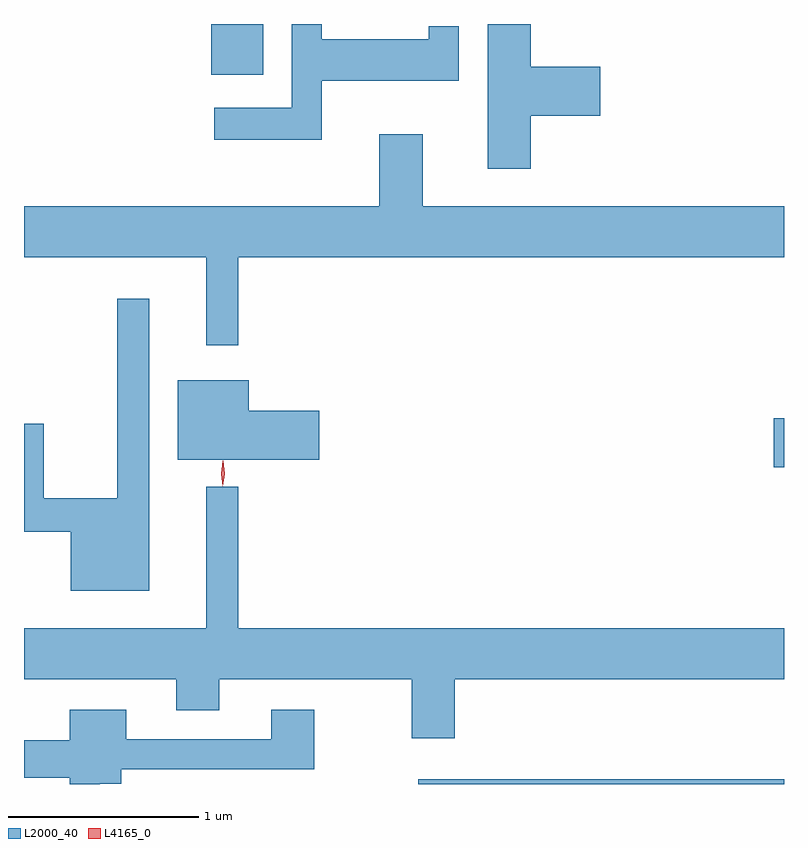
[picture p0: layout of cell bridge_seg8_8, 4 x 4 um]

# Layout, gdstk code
import gdstk
lib = gdstk.Library(unit=1e-6, precision=1e-09)
def R(c, l, rs):  # rectangles x0, y0, x1, y1
    for r in rs: c.add(gdstk.rectangle(r[:2], r[2:], *l))
def P(c, l, *ps):  # polygons
    for p in ps: c.add(gdstk.Polygon(p, *l))
L2000_40 = (2000, 40)
L4165_0 = (4165, 0)

bridge_seg8_8 = lib.new_cell('bridge_seg8_8')
R(bridge_seg8_8, L2000_40, [(1689.726,1909.124,1691.651,1909.149), (1691.596,1910.791,1691.651,1911.049), (1688.636,1912.856,1688.909,1913.124)])
P(bridge_seg8_8, L2000_40, [(1689.219,1912.826),(1689.939,1912.826),(1689.939,1913.113),(1689.781,1913.113),(1689.781,1913.044),(1689.219,1913.044),(1689.219,1913.124),(1689.061,1913.124),(1689.061,1912.684),(1688.653,1912.684),(1688.653,1912.516),(1689.219,1912.516)],
  [(1690.319,1912.641),(1690.684,1912.641),(1690.684,1912.899),(1690.319,1912.899),(1690.319,1913.124),(1690.091,1913.124),(1690.091,1912.361),(1690.319,1912.361)],
  [(1688.779,1911.896),(1691.651,1911.896),(1691.651,1912.164),(1689.749,1912.164),(1689.749,1912.544),(1689.521,1912.544),(1689.521,1912.164),(1687.651,1912.164),(1687.651,1911.896),(1688.611,1911.896),(1688.611,1911.433),(1688.779,1911.433)],
  [(1688.309,1911.678),(1688.141,1911.678),(1688.141,1910.629),(1687.754,1910.629),(1687.754,1911.019),(1687.651,1911.019),(1687.651,1910.451),(1687.896,1910.451),(1687.896,1910.141),(1688.309,1910.141)],
  [(1689.204,1911.089),(1688.834,1911.089),(1688.834,1911.249),(1688.461,1911.249),(1688.461,1910.831),(1689.204,1910.831)],
  [(1688.779,1910.688),(1688.611,1910.688),(1688.611,1909.944),(1687.651,1909.944),(1687.651,1909.676),(1688.451,1909.676),(1688.451,1909.511),(1688.679,1909.511),(1688.679,1909.676),(1689.691,1909.676),(1689.691,1909.366),(1689.919,1909.366),(1689.919,1909.676),(1691.651,1909.676),(1691.651,1909.944),(1688.779,1909.944)],
  [(1688.049,1909.126),(1688.164,1909.126),(1688.164,1909.201),(1689.179,1909.201),(1689.179,1909.514),(1688.951,1909.514),(1688.951,1909.359),(1688.189,1909.359),(1688.189,1909.514),(1687.891,1909.514),(1687.891,1909.354),(1687.651,1909.354),(1687.651,1909.156),(1687.891,1909.156),(1687.891,1909.124),(1688.049,1909.124)])
P(bridge_seg8_8, L4165_0, [(1688.696,1910.69),(1688.688,1910.758),(1688.698,1910.826),(1688.698,1910.826),(1688.699,1910.826),(1688.708,1910.758),(1688.697,1910.69),(1688.697,1910.69)],
  [(1688.697,1910.693),(1688.696,1910.694),(1688.688,1910.757),(1688.699,1910.819),(1688.699,1910.82),(1688.7,1910.819),(1688.708,1910.756),(1688.697,1910.694)])

lib.write_gds('bridge_seg8_8.gds')
